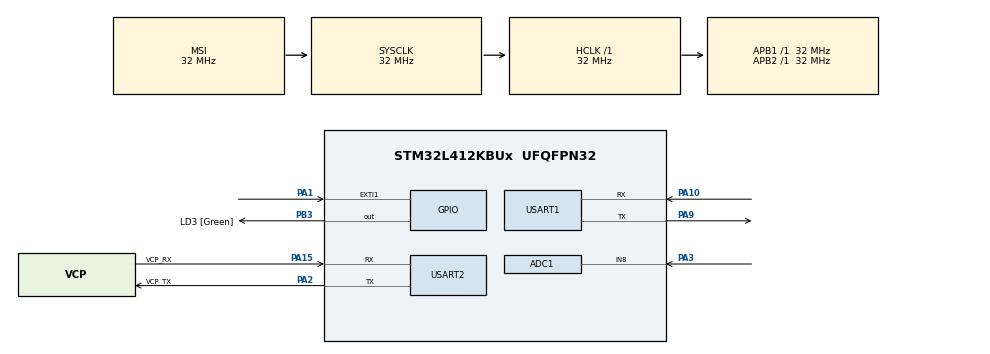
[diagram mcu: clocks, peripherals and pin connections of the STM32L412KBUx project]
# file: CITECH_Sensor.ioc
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ADC1.Channel-0\#ChannelRegularConversion=ADC_CHANNEL_8
ADC1.ContinuousConvMode=DISABLE
ADC1.EOCSelection=ADC_EOC_SINGLE_CONV
ADC1.NbrOfConversion=1
ADC1.NbrOfConversionFlag=1
ADC1.OffsetNumber-0\#ChannelRegularConversion=ADC_OFFSET_NONE
ADC1.Rank-0\#ChannelRegularConversion=1
ADC1.SamplingTime-0\#ChannelRegularConversion=ADC_SAMPLETIME_2CYCLES_5
ADC1.master=1
Mcu.Family=STM32L4
Mcu.Name=STM32L412KBUx
Mcu.Package=UFQFPN32
NVIC.ADC1_2_IRQn=true\:0\:0\:false\:false\:true\:true\:true\:true
NVIC.EXTI1_IRQn=true\:0\:0\:false\:false\:true\:true\:true\:true
NVIC.PriorityGroup=NVIC_PRIORITYGROUP_4
PA0-CK_IN.Mode=HSE-External-Clock-Source-for-LittleOrca
PA0-CK_IN.Signal=RCC_CK_IN
PA1.GPIO_ModeDefaultEXTI=GPIO_MODE_IT_RISING
PA1.GPIO_PuPd=GPIO_PULLDOWN
PA1.Signal=GPXTI1
PA10.Mode=Asynchronous
PA10.Signal=USART1_RX
PA13\ (JTMS/SWDIO).GPIO_Label=SWDIO
PA13\ (JTMS/SWDIO).Mode=Serial_Wire
PA13\ (JTMS/SWDIO).Signal=SYS_JTMS-SWDIO
PA14\ (JTCK/SWCLK).GPIO_Label=SWCLK
PA14\ (JTCK/SWCLK).Mode=Serial_Wire
PA14\ (JTCK/SWCLK).Signal=SYS_JTCK-SWCLK
PA15\ (JTDI).GPIO_Label=VCP_RX
PA15\ (JTDI).Mode=Asynchronous
PA15\ (JTDI).Signal=USART2_RX
PA2.GPIO_Label=VCP_TX
PA2.Mode=Asynchronous
PA2.Signal=USART2_TX
PA3.Signal=ADCx_IN8
PA9.Mode=Asynchronous
PA9.Signal=USART1_TX
PB3\ (JTDO/TRACESWO).GPIO_Label=LD3 [Green]
PB3\ (JTDO/TRACESWO).Signal=GPIO_Output
PC14-OSC32_IN\ (PC14).Mode=LSE-External-Oscillator
PC14-OSC32_IN\ (PC14).Signal=RCC_OSC32_IN
PC15-OSC32_OUT\ (PC15).Mode=LSE-External-Oscillator
PC15-OSC32_OUT\ (PC15).Signal=RCC_OSC32_OUT
ProjectManager.HeapSize=0x200
ProjectManager.StackSize=0x400
ProjectManager.TargetToolchain=STM32CubeIDE
RCC.ADCFreq_Value=32000000
RCC.AHBFreq_Value=32000000
RCC.APB1Freq_Value=32000000
RCC.APB1TimFreq_Value=32000000
RCC.APB2Freq_Value=32000000
RCC.APB2TimFreq_Value=32000000
RCC.CortexFreq_Value=32000000
RCC.FLatency=FLASH_LATENCY_1
RCC.HCLKFreq_Value=32000000
RCC.HSE_VALUE=8000000
RCC.HSI48_VALUE=48000000
RCC.HSICalibrationValue=16
RCC.HSI_VALUE=16000000
RCC.LSE_Drive_Capability=RCC_LSEDRIVE_LOW
RCC.MSIClockRange=RCC_MSIRANGE_10
RCC.MSI_VALUE=32000000
RCC.SYSCLKFreq_VALUE=32000000
RCC.USBFreq_Value=32000000
RCC.VCOOutputFreq_Value=256000000
SH.ADCx_IN8.0=ADC1_IN8,IN8-Single-Ended
USART1.VirtualMode-Asynchronous=VM_ASYNC
USART2.VirtualMode-Asynchronous=VM_ASYNC
board=NUCLEO-L412KB

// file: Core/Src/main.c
/* USER CODE BEGIN Header */
/**
  ******************************************************************************
  * @file           : main.c
  * @brief          : Main program body
  ******************************************************************************
  * @attention
  *
  * Copyright (c) 2022 STMicroelectronics.
  * All rights reserved.
  *
  * This software is licensed under terms that can be found in the LICENSE file
  * in the root directory of this software component.
  * If no LICENSE file comes with this software, it is provided AS-IS.
  *
  ******************************************************************************
  */
/* USER CODE END Header */
#include "main.h"

/* USER CODE BEGIN Includes */
#include <stdio.h>
#include <string.h>
/* USER CODE END Includes */

/* USER CODE BEGIN PD */
     int adc_val;
	 char str[32];
	 int button_pressed = 0;
	 int integration = 0;
	 int GetDataDone = 1;
/* USER CODE END PD */

ADC_HandleTypeDef hadc1;

UART_HandleTypeDef huart1;
UART_HandleTypeDef huart2;

void SystemClock_Config(void);
static void MX_GPIO_Init(void);
static void MX_USART2_UART_Init(void);
static void MX_ADC1_Init(void);
static void MX_USART1_UART_Init(void);

int main(void)
{

  /* MCU Configuration--------------------------------------------------------*/

  /* Reset of all peripherals, Initializes the Flash interface and the Systick. */
  HAL_Init();

  /* Configure the system clock */
  SystemClock_Config();

  /* Initialize all configured peripherals */
  MX_GPIO_Init();
  MX_USART2_UART_Init();
  MX_ADC1_Init();
  MX_USART1_UART_Init();

  /* Infinite loop */
  while (1)
  {

    /* USER CODE BEGIN 3 */

	     // uint8_t Test[] = "Hello World !!!\r\n"; //Data to send

	 	// HAL_UART_Transmit(&huart2,Test,sizeof(Test),10);// Sending in normal mode
	 	// HAL_Delay(1000);
	  if(integration < 100)
	  	{
		  if (button_pressed == 1 && GetDataDone == 1)
		  {
			  GetDataDone = 0;
			  HAL_ADC_Start_IT(&hadc1);

		  }
          HAL_Delay(5);
	  	}
	  else
	  {

	      sprintf(str,"AnalogPort_A1:%u\r\n",adc_val);
	      HAL_UART_Transmit(&huart2,str,strlen(str),10); // Sending in normal mode

          integration = 0;
          button_pressed = 0;

	   }

  }
  /* USER CODE END 3 */
}

void SystemClock_Config(void)
{
  RCC_OscInitTypeDef RCC_OscInitStruct = {0};
  RCC_ClkInitTypeDef RCC_ClkInitStruct = {0};

  /** Configure the main internal regulator output voltage
  */
  if (HAL_PWREx_ControlVoltageScaling(PWR_REGULATOR_VOLTAGE_SCALE1) != HAL_OK)
  {
    Error_Handler();
  }

  /** Configure LSE Drive Capability
  */
  HAL_PWR_EnableBkUpAccess();
  __HAL_RCC_LSEDRIVE_CONFIG(RCC_LSEDRIVE_LOW);

  /** Initializes the RCC Oscillators according to the specified parameters
  * in the RCC_OscInitTypeDef structure.
  */
  RCC_OscInitStruct.OscillatorType = RCC_OSCILLATORTYPE_LSE|RCC_OSCILLATORTYPE_MSI;
  RCC_OscInitStruct.LSEState = RCC_LSE_ON;
  RCC_OscInitStruct.MSIState = RCC_MSI_ON;
  RCC_OscInitStruct.MSICalibrationValue = 0;
  RCC_OscInitStruct.MSIClockRange = RCC_MSIRANGE_10;
  RCC_OscInitStruct.PLL.PLLState = RCC_PLL_NONE;
  if (HAL_RCC_OscConfig(&RCC_OscInitStruct) != HAL_OK)
  {
    Error_Handler();
  }

  /** Initializes the CPU, AHB and APB buses clocks
  */
  RCC_ClkInitStruct.ClockType = RCC_CLOCKTYPE_HCLK|RCC_CLOCKTYPE_SYSCLK
                              |RCC_CLOCKTYPE_PCLK1|RCC_CLOCKTYPE_PCLK2;
  RCC_ClkInitStruct.SYSCLKSource = RCC_SYSCLKSOURCE_MSI;
  RCC_ClkInitStruct.AHBCLKDivider = RCC_SYSCLK_DIV1;
  RCC_ClkInitStruct.APB1CLKDivider = RCC_HCLK_DIV1;
  RCC_ClkInitStruct.APB2CLKDivider = RCC_HCLK_DIV1;

  if (HAL_RCC_ClockConfig(&RCC_ClkInitStruct, FLASH_LATENCY_1) != HAL_OK)
  {
    Error_Handler();
  }

  /** Enable MSI Auto calibration
  */
  HAL_RCCEx_EnableMSIPLLMode();
}

static void MX_ADC1_Init(void)
{

  ADC_MultiModeTypeDef multimode = {0};
  ADC_ChannelConfTypeDef sConfig = {0};

  /** Common config
  */
  hadc1.Instance = ADC1;
  hadc1.Init.ClockPrescaler = ADC_CLOCK_ASYNC_DIV1;
  hadc1.Init.Resolution = ADC_RESOLUTION_12B;
  hadc1.Init.DataAlign = ADC_DATAALIGN_RIGHT;
  hadc1.Init.ScanConvMode = ADC_SCAN_ENABLE;
  hadc1.Init.EOCSelection = ADC_EOC_SINGLE_CONV;
  hadc1.Init.LowPowerAutoWait = DISABLE;
  hadc1.Init.ContinuousConvMode = DISABLE;
  hadc1.Init.NbrOfConversion = 10;
  hadc1.Init.DiscontinuousConvMode = DISABLE;
  hadc1.Init.ExternalTrigConv = ADC_SOFTWARE_START;
  hadc1.Init.ExternalTrigConvEdge = ADC_EXTERNALTRIGCONVEDGE_NONE;
  hadc1.Init.DMAContinuousRequests = DISABLE;
  hadc1.Init.Overrun = ADC_OVR_DATA_PRESERVED;
  hadc1.Init.OversamplingMode = DISABLE;
  if (HAL_ADC_Init(&hadc1) != HAL_OK)
  {
    Error_Handler();
  }

  /** Configure the ADC multi-mode
  */
  multimode.Mode = ADC_MODE_INDEPENDENT;
  if (HAL_ADCEx_MultiModeConfigChannel(&hadc1, &multimode) != HAL_OK)
  {
    Error_Handler();
  }

  /** Configure Regular Channel
  */
  sConfig.Channel = ADC_CHANNEL_8;
  sConfig.Rank = ADC_REGULAR_RANK_1;
  sConfig.SamplingTime = ADC_SAMPLETIME_2CYCLES_5;
  sConfig.SingleDiff = ADC_SINGLE_ENDED;
  sConfig.OffsetNumber = ADC_OFFSET_NONE;
  sConfig.Offset = 0;
  if (HAL_ADC_ConfigChannel(&hadc1, &sConfig) != HAL_OK)
  {
    Error_Handler();
  }

  /** Configure Regular Channel
  */
  sConfig.Rank = ADC_REGULAR_RANK_2;
  if (HAL_ADC_ConfigChannel(&hadc1, &sConfig) != HAL_OK)
  {
    Error_Handler();
  }

  /** Configure Regular Channel
  */
  sConfig.Rank = ADC_REGULAR_RANK_3;
  if (HAL_ADC_ConfigChannel(&hadc1, &sConfig) != HAL_OK)
  {
    Error_Handler();
  }

  /** Configure Regular Channel
  */
  sConfig.Rank = ADC_REGULAR_RANK_4;
  if (HAL_ADC_ConfigChannel(&hadc1, &sConfig) != HAL_OK)
  {
    Error_Handler();
  }

  /** Configure Regular Channel
  */
  sConfig.Rank = ADC_REGULAR_RANK_5;
  if (HAL_ADC_ConfigChannel(&hadc1, &sConfig) != HAL_OK)
  {
    Error_Handler();
  }

  /** Configure Regular Channel
  */
  sConfig.Rank = ADC_REGULAR_RANK_6;
  if (HAL_ADC_ConfigChannel(&hadc1, &sConfig) != HAL_OK)
  {
    Error_Handler();
  }

  /** Configure Regular Channel
  */
  sConfig.Rank = ADC_REGULAR_RANK_7;
  if (HAL_ADC_ConfigChannel(&hadc1, &sConfig) != HAL_OK)
  {
    Error_Handler();
  }

  /** Configure Regular Channel
  */
  sConfig.Rank = ADC_REGULAR_RANK_8;
  if (HAL_ADC_ConfigChannel(&hadc1, &sConfig) != HAL_OK)
  {
    Error_Handler();
  }

  /** Configure Regular Channel
  */
  sConfig.Rank = ADC_REGULAR_RANK_9;
  if (HAL_ADC_ConfigChannel(&hadc1, &sConfig) != HAL_OK)
  {
    Error_Handler();
  }

  /** Configure Regular Channel
  */
  sConfig.Rank = ADC_REGULAR_RANK_10;
  if (HAL_ADC_ConfigChannel(&hadc1, &sConfig) != HAL_OK)
  {
    Error_Handler();
  }

}

static void MX_USART1_UART_Init(void)
{

  huart1.Instance = USART1;
  huart1.Init.BaudRate = 115200;
  huart1.Init.WordLength = UART_WORDLENGTH_8B;
  huart1.Init.StopBits = UART_STOPBITS_1;
  huart1.Init.Parity = UART_PARITY_NONE;
  huart1.Init.Mode = UART_MODE_TX_RX;
  huart1.Init.HwFlowCtl = UART_HWCONTROL_NONE;
  huart1.Init.OverSampling = UART_OVERSAMPLING_16;
  huart1.Init.OneBitSampling = UART_ONE_BIT_SAMPLE_DISABLE;
  huart1.AdvancedInit.AdvFeatureInit = UART_ADVFEATURE_NO_INIT;
  if (HAL_UART_Init(&huart1) != HAL_OK)
  {
    Error_Handler();
  }

}

static void MX_USART2_UART_Init(void)
{

  huart2.Instance = USART2;
  huart2.Init.BaudRate = 115200;
  huart2.Init.WordLength = UART_WORDLENGTH_8B;
  huart2.Init.StopBits = UART_STOPBITS_1;
  huart2.Init.Parity = UART_PARITY_NONE;
  huart2.Init.Mode = UART_MODE_TX_RX;
  huart2.Init.HwFlowCtl = UART_HWCONTROL_NONE;
  huart2.Init.OverSampling = UART_OVERSAMPLING_16;
  huart2.Init.OneBitSampling = UART_ONE_BIT_SAMPLE_DISABLE;
  huart2.AdvancedInit.AdvFeatureInit = UART_ADVFEATURE_NO_INIT;
  if (HAL_UART_Init(&huart2) != HAL_OK)
  {
    Error_Handler();
  }

}

static void MX_GPIO_Init(void)
{
  GPIO_InitTypeDef GPIO_InitStruct = {0};

  /* GPIO Ports Clock Enable */
  __HAL_RCC_GPIOC_CLK_ENABLE();
  __HAL_RCC_GPIOA_CLK_ENABLE();
  __HAL_RCC_GPIOB_CLK_ENABLE();

  /*Configure GPIO pin Output Level */
  HAL_GPIO_WritePin(LD3_GPIO_Port, LD3_Pin, GPIO_PIN_RESET);

  /*Configure GPIO pin : PA1 */
  GPIO_InitStruct.Pin = GPIO_PIN_1;
  GPIO_InitStruct.Mode = GPIO_MODE_IT_RISING;
  GPIO_InitStruct.Pull = GPIO_PULLDOWN;
  HAL_GPIO_Init(GPIOA, &GPIO_InitStruct);

  /*Configure GPIO pin : LD3_Pin */
  GPIO_InitStruct.Pin = LD3_Pin;
  GPIO_InitStruct.Mode = GPIO_MODE_OUTPUT_PP;
  GPIO_InitStruct.Pull = GPIO_NOPULL;
  GPIO_InitStruct.Speed = GPIO_SPEED_FREQ_LOW;
  HAL_GPIO_Init(LD3_GPIO_Port, &GPIO_InitStruct);

  /* EXTI interrupt init*/
  HAL_NVIC_SetPriority(EXTI1_IRQn, 0, 0);
  HAL_NVIC_EnableIRQ(EXTI1_IRQn);

}

/* USER CODE BEGIN 4 */
void HAL_ADC_ConvCpltCallback(ADC_HandleTypeDef* hadc)
{

	// Read & Update The ADC Result
      adc_val = adc_val + HAL_ADC_GetValue(&hadc1);
   // HAL_ADC_Stop_IT(&hadc1);
      integration ++;
      GetDataDone = 1 ;

}

// EXTI Line9 External Interrupt ISR Handler CallBackFun
void HAL_GPIO_EXTI_Callback(uint16_t GPIO_Pin)
{
    if(GPIO_Pin == GPIO_PIN_1) // If The INT Source Is EXTI Line9 (A9 Pin)
    {
    HAL_GPIO_TogglePin(GPIOB, GPIO_PIN_3); // Toggle The Output (LED) Pin
   // HAL_ADC_Start_IT(&hadc1);
    adc_val =0;
    integration = 0;
    button_pressed = 1;
    }
}

/* USER CODE END 4 */

void Error_Handler(void)
{
  __disable_irq();
  while (1)
  {
  }
}
